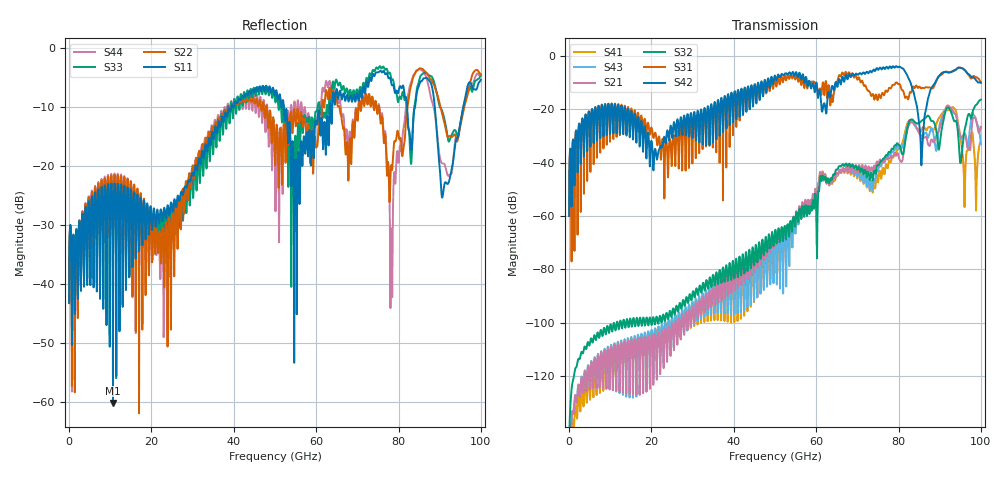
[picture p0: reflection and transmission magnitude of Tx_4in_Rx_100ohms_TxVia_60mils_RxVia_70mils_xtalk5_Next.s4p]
! Info: Touchstone file created by Circ.  Input file=Tx_4in_Rx_100ohms_TxVia_60mils_RxVia_70mils.circ
# Hz S RI R 50
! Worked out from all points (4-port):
!   10000 points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, 10 MHz to 100 GHz, reference 50 ohm
!   strongest paths, dB at 10 MHz, 25.01 GHz, 50.01 GHz, 75.01 GHz, 100 GHz:
!     S42: -60.0, -30.2, -7.4, -5.2, -10.1
!     S31: -60.0, -38.1, -8.9, -16.0, -10.1
!     S32: -156.5, -96.7, -65.8, -40.9, -16.4
!     S21: -167.2, -100.4, -67.5, -40.8, -26.6
!     S43: -158.1, -98.0, -68.0, -43.3, -33.1
!     S41: -158.3, -98.3, -70.5, -47.4, -32.8
!   lowest |S11| = -60.2 dB at 10.66 GHz (marker M1), VSWR 1.00, Z = 50 - j0.09 ohm
!   |S11| at or under -10 dB: start of sweep to 39.42 GHz; 52.14 GHz to 63.29 GHz (11.15 GHz wide, 19.3 % of centre); 88.81 GHz to 95.74 GHz (6.923 GHz wide, 7.5 % of centre)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
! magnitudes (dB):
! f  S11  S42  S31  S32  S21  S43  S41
! 10 MHz  -43.2  -60.0  -60.0  -156.5  -167.2  -158.1  -158.3
! 10.66 GHz  -60.2  -25.7  -26.7  -101.6  -124.3  -123.5  -117.4
! 46.93 GHz  -6.5  -12.0  -13.1  -68.9  -71.8  -70.6  -73.5
! 62.88 GHz  -13.5  -14.1  -13.0  -46.1  -46.0  -46.5  -45.8
! 78.27 GHz  -6.0  -4.7  -11.8  -35.1  -37.4  -36.3  -38.9
! 85.61 GHz  -5.6  -39.4  -12.1  -24.4  -31.2  -30.1  -27.8
! 100 GHz  -5.3  -10.1  -10.1  -16.4  -26.6  -33.1  -32.8
